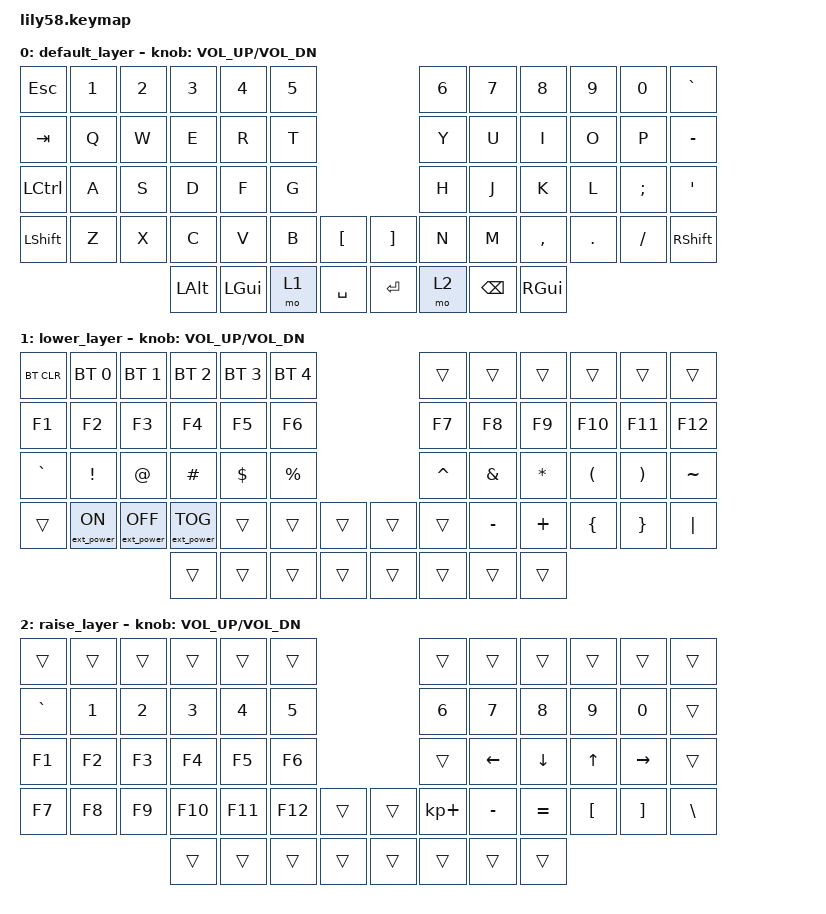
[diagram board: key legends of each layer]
/*
 * Copyright (c) 2020 The ZMK Contributors
 *
 * SPDX-License-Identifier: MIT
 */

#include <behaviors.dtsi>
#include <dt-bindings/zmk/keys.h>
#include <dt-bindings/zmk/bt.h>
#include <dt-bindings/zmk/ext_power.h>

/ {
    keymap {
        compatible = "zmk,keymap";

        default_layer {
            bindings = <
&kp ESC   &kp N1 &kp N2 &kp N3   &kp N4   &kp N5                     &kp N6 &kp N7   &kp N8    &kp N9  &kp N0   &kp GRAVE
&kp TAB   &kp Q  &kp W  &kp E    &kp R    &kp T                      &kp Y  &kp U    &kp I     &kp O   &kp P    &kp MINUS
&kp LCTRL &kp A  &kp S  &kp D    &kp F    &kp G                      &kp H  &kp J    &kp K     &kp L   &kp SEMI &kp SQT
&kp LSHFT &kp Z  &kp X  &kp C    &kp V    &kp B  &kp LBKT   &kp RBKT &kp N  &kp M    &kp COMMA &kp DOT &kp FSLH &kp RSHFT
                        &kp LALT &kp LGUI &mo 1  &kp SPACE  &kp RET  &mo 2  &kp BSPC &kp RGUI
            >;

            sensor-bindings = <&inc_dec_kp C_VOL_UP C_VOL_DN>;
        };

        lower_layer {
            bindings = <
&bt BT_CLR &bt BT_SEL 0     &bt BT_SEL 1      &bt BT_SEL 2      &bt BT_SEL 3 &bt BT_SEL 4                 &trans    &trans    &trans    &trans    &trans    &trans
&kp F1     &kp F2           &kp F3            &kp F4            &kp F5       &kp F6                       &kp F7    &kp F8    &kp F9    &kp F10   &kp F11   &kp F12
&kp GRAVE  &kp EXCL         &kp AT            &kp HASH          &kp DOLLAR   &kp PRCNT                    &kp CARET &kp AMPS  &kp ASTRK &kp LPAR  &kp RPAR  &kp TILDE
&trans     &ext_power EP_ON &ext_power EP_OFF &ext_power EP_TOG &trans       &trans    &trans   &trans    &trans    &kp MINUS &kp PLUS  &kp LBRC  &kp RBRC  &kp PIPE
                                              &trans            &trans       &trans    &trans   &trans    &trans    &trans    &trans
            >;

            sensor-bindings = <&inc_dec_kp C_VOL_UP C_VOL_DN>;
        };

        raise_layer {
            bindings = <
&trans    &trans &trans &trans  &trans  &trans                       &trans      &trans    &trans    &trans   &trans    &trans
&kp GRAVE &kp N1 &kp N2 &kp N3  &kp N4  &kp N5                       &kp N6      &kp N7    &kp N8    &kp N9   &kp N0    &trans
&kp F1    &kp F2 &kp F3 &kp F4  &kp F5  &kp F6                       &trans      &kp LEFT  &kp DOWN  &kp UP   &kp RIGHT &trans
&kp F7    &kp F8 &kp F9 &kp F10 &kp F11 &kp F12   &trans   &trans    &kp KP_PLUS &kp MINUS &kp EQUAL &kp LBKT &kp RBKT &kp BSLH
                        &trans  &trans  &trans    &trans   &trans    &trans      &trans    &trans
            >;

            sensor-bindings = <&inc_dec_kp C_VOL_UP C_VOL_DN>;
        };
    };

    // ✅ EXTRA BUTTON (GPIO KEY)
    gpio_keys {
        compatible = "zmk,gpio-keys";

        warning_key: warning_key {
            gpios = <&gpio0 17 GPIO_ACTIVE_LOW>;  // your pin "017"
            label = "WARNING";
            bindings = <&kp A>;  // press button → types "A"
        };
    };
};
